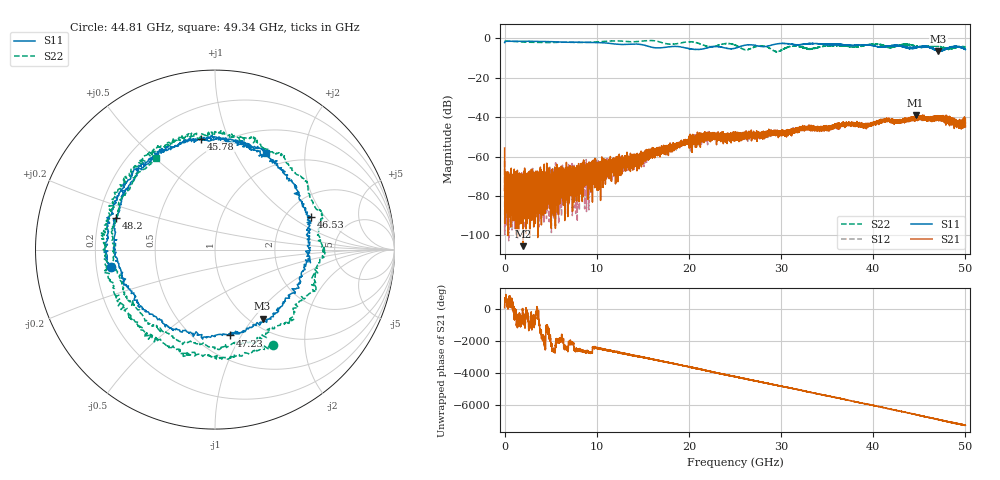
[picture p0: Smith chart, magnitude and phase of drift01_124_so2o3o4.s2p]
!Created with skrf (http://scikit-rf.org).
# Hz S RI R 50.0
!freq ReS11 ImS11 ReS21 ImS21 ReS12 ImS12 ReS22 ImS22
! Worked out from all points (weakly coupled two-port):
!   10001 points, 300 kHz to 50 GHz, reference 50 ohm
!   highest |S21| = -38.81 dB at 44.6 GHz (marker M1); lowest = -105.5 dB at 1.985 GHz (marker M2)
!   lowest |S11| = -6.6 dB at 47.07 GHz (marker M3), VSWR 2.76, Z = 56.7 - j56 ohm
!   |S11| at or under -10 dB: nowhere
!   |S22| runs from -6.8 to -1.0 dB; largest |S21 - S12| = 0.0037
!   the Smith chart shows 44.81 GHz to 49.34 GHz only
!   S11 on the Smith chart (normalised r, x): 44.81 GHz: 0.26, -0.08; 45.78 GHz: 0.40, +0.80; 46.53 GHz: 2.73, +1.44; 47.23 GHz: 0.72, -0.90; 48.2 GHz: 0.27, +0.15; 49.34 GHz: 0.78, +1.35
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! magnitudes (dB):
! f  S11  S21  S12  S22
! 300 kHz  -2.1  -55.7  -62.2  -1.3
! 255.3 MHz  -1.4  -69.3  -90.4  -1.4
! 1.985 GHz  -1.4  -105.5  -74.6  -1.9
! 5.42 GHz  -1.7  -71.2  -71.4  -2.0
! 8.335 GHz  -1.9  -65.9  -66.4  -2.1
! 16.67 GHz  -4.8  -55.3  -56.8  -1.6
! 21.5 GHz  -5.4  -52.6  -48.7  -3.3
! 25 GHz  -5.0  -51.6  -49.1  -3.4
! 28.09 GHz  -4.2  -47.1  -49.1  -3.8
! 29.54 GHz  -2.8  -48.2  -48.7  -6.7
! 31.27 GHz  -3.0  -46.5  -47.6  -4.0
! 33.34 GHz  -2.6  -46.2  -44.9  -5.5
! 41.67 GHz  -3.9  -41.5  -41.3  -4.5
! 44.6 GHz  -4.8  -38.8  -40.8  -4.0
! 44.81 GHz  -4.6  -41.7  -40.4  -4.2
! 45.78 GHz  -4.1  -40.8  -40.0  -3.9
! 46.53 GHz  -5.0  -40.2  -40.7  -4.1
! 47.07 GHz  -6.6  -40.1  -40.6  -4.2
! 47.23 GHz  -6.3  -40.3  -41.2  -4.4
! 48.2 GHz  -4.8  -40.7  -40.2  -5.5
! 49.34 GHz  -4.3  -42.0  -43.6  -4.3
! 50 GHz  -5.7  -45.0  -43.1  -4.2
